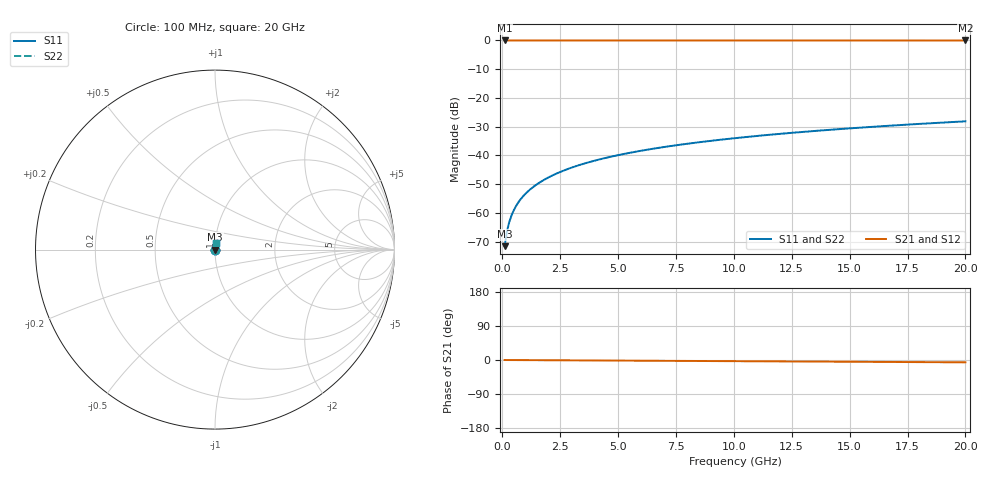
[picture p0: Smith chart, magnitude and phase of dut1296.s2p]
! Touchstone file exported from HFSS 2026.1.0
!  File:  C:/ffzhzh/LocalFiles/Ansys_Project_Files/temp_train_TSV_1296_1783194628_18472.aedt
!  Generated:  03:51:50 AM Jul  5, 2026
!  Design:  TSV
!  Project:  temp_train_TSV_1296_1783194628_18472
! Variables:
!  h_bsmrdl = 2um
!  h_ox = 20um
!  h_rdl = 5um
!  h_sub = 50.78um
!  h_tmrdl = 5um
!  h_tsv = 50.78um
!  h_via = 3um
!  l_bsmrdl = 300um
!  l_sub = 415.34um
!  l_tmrdl = 200um
!  m_sub = 200um
!  pitch = 49.23um
!  r_tsv = 7.67um
!  s_tmrdl = 10um
!  w_bsmrdl = 18um
!  w_sub = 500um
!  w_tmrdl = 12um
!  x_tsv_center1 = 206um
!  x_tsv_center2 = 524um
!  x_tsv_center3 = 736um
!  x_tsv_center4 = 1054um
!  x_tsv_center5 = 1266um
!  x_tsv_center6 = 1584um
# GHz S MA R 50.000000
! Terminal data exported
! Port[1] = TSV1_1_T1
! Port[2] = TSV1_1_T2
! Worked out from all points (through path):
!   200 points, 100 MHz to 20 GHz, reference 50 ohm
!   highest |S21| = 0.00 dB at 100 MHz (marker M1); lowest = 0.0 dB at 20 GHz (marker M2)
!   lowest |S11| = -71.6 dB at 100 MHz (marker M3), VSWR 1.00, Z = 50 + j0.0227 ohm
!   |S11| at or under -10 dB: start of sweep to end of sweep
!   |S22| runs from -71.6 to -28.1 dB; largest |S21 - S12| = 3.1e-15
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0.1  0.0002635 59.4  0.9999 -0.0  0.9999 -0.0  0.0002635 59.4
! Gamma 0 0 0 0
! Port Impedance 50 0 50 0
0.2  0.0004737 72.5  0.9999 -0.1  0.9999 -0.1  0.0004737 72.5
0.3  0.0006911 77.0  0.9998 -0.1  0.9998 -0.1  0.0006911 77.0
0.4  0.0009073 79.1  0.9998 -0.1  0.9998 -0.1  0.0009073 79.1
0.5  0.001121 80.3  0.9998 -0.2  0.9998 -0.2  0.001121 80.3
0.6  0.001331 81.1  0.9998 -0.2  0.9998 -0.2  0.001331 81.1
0.7  0.001538 81.7  0.9998 -0.2  0.9998 -0.2  0.001538 81.7
0.8  0.001744 82.1  0.9998 -0.3  0.9998 -0.3  0.001744 82.1
1  0.002149 82.8  0.9997 -0.3  0.9997 -0.3  0.002149 82.8
1.4  0.002952 83.8  0.9997 -0.4  0.9997 -0.4  0.002952 83.8
1.7  0.003552 84.3  0.9997 -0.5  0.9997 -0.5  0.003552 84.3
2  0.004151 84.7  0.9996 -0.6  0.9996 -0.6  0.004151 84.7
2.7  0.005547 85.2  0.9996 -0.8  0.9996 -0.8  0.005547 85.2
3.5  0.007138 85.4  0.9995 -1.1  0.9995 -1.1  0.007138 85.4
4.2  0.008524 85.5  0.9995 -1.3  0.9995 -1.3  0.008524 85.5
5  0.0101 85.5  0.9994 -1.6  0.9994 -1.6  0.0101 85.5
6.8  0.01363 85.3  0.9993 -2.1  0.9993 -2.1  0.01363 85.3
8.3  0.01656 85.1  0.9992 -2.6  0.9992 -2.6  0.01656 85.1
10.1  0.02006 84.7  0.9991 -3.1  0.9991 -3.1  0.02006 84.8
13.4  0.02645 84.0  0.9988 -4.1  0.9988 -4.1  0.02645 84.0
16.7  0.03282 83.2  0.9985 -5.2  0.9985 -5.2  0.03282 83.2
20  0.03915 82.3  0.9982 -6.2  0.9982 -6.2  0.03915 82.3
